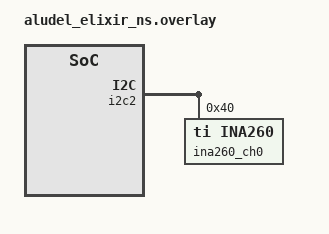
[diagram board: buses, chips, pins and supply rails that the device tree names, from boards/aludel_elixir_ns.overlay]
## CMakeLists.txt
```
# SPDX-License-Identifier: Apache-2.0

cmake_minimum_required(VERSION 3.20.0)
find_package(Zephyr REQUIRED HINTS $ENV{ZEPHYR_BASE})
project(gateway)

target_include_directories(app PRIVATE include ${CMAKE_CURRENT_BINARY_DIR})

target_sources(app PRIVATE
  src/block.c
  src/bt/connect.c
  src/bt/cert.c
  src/bt/downlink.c
  src/bt/scan.c
  src/bt/uplink.c
  src/cert.c
  src/downlink.c
  src/fatal_error.c
  src/uplink.c
  src/main.c
  git_describe.h
)

file(WRITE ${CMAKE_CURRENT_BINARY_DIR}/mk-git-describe.sh
  "echo \"#define GIT_DESCRIBE \\\\\" > ${CMAKE_CURRENT_BINARY_DIR}/git_describe.h\n"
  "git describe --always --dirty >> ${CMAKE_CURRENT_BINARY_DIR}/git_describe.h || true\n")

add_custom_command(OUTPUT git_describe.h always_run
  COMMAND chmod +x ${CMAKE_CURRENT_BINARY_DIR}/mk-git-describe.sh
  COMMAND ${CMAKE_CURRENT_BINARY_DIR}/mk-git-describe.sh
  WORKING_DIRECTORY ${CMAKE_CURRENT_LIST_DIR})

generate_inc_file_for_target(app
  src/server.der
  ${ZEPHYR_BINARY_DIR}/include/generated/server.der.inc)
```

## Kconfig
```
# Copyright (c) 2025 Golioth, Inc.
# SPDX-License-Identifier: Apache-2.0

configdefault MBEDTLS_USE_PSA_CRYPTO
	default n

configdefault BT_CTLR_DATA_LENGTH_MAX
	default 251

source "${ZEPHYR_GOLIOTH_FIRMWARE_SDK_MODULE_DIR}/examples/zephyr/common/Kconfig.defconfig"

source "Kconfig.zephyr"
```

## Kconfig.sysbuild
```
# Copyright (c) 2025 Golioth, Inc.
# SPDX-License-Identifier: Apache-2.0

menu "Gateway configuration"

config GATEWAY_CLOUD
	bool "Send pouches to cloud"
	default y
	help
	  Disabling cloud communication allows to test Bluetooth gateway
	  functionality without relying on communication with backend. All
	  pouches received from Bluetooth nodes are dropped in that case.

endmenu

menu "BabbleSim components"
	depends on SOC = "native"

config BSIM_HANDBRAKE
	bool "Handbrake"
	default y if GATEWAY_CLOUD

endmenu

menu "BabbleSim peripherals"
	depends on SOC = "native"

config PERIPHERAL_ZEPHYR
	bool "Zephyr"
	help
	  Zephyr peripheral sample.

config PERIPHERAL_ZEPHYR_NUM
	int "Number of Zephyr peripherals"
	default 1
	depends on PERIPHERAL_ZEPHYR

config PERIPHERAL_PERIODIC_UPLINK
	bool "Periodic uplink"
	help
	  Periodic uplink sample.

config PERIPHERAL_PERIODIC_UPLINK_NUM
	int "Number of periodic uplink peripherals"
	default 1
	depends on PERIPHERAL_PERIODIC_UPLINK

config PERIPHERAL_BLE_GATT_EXAMPLE
	bool "BLE GATT example"
	default y
	help
	  BLE GATT sample.

config PERIPHERAL_BLE_GATT_EXAMPLE_NUM
	int "Number of BLE GATT example peripherals"
	default 1
	depends on PERIPHERAL_BLE_GATT_EXAMPLE

endmenu

config PERIPHERAL_MOUNT_CREDS
	bool "Mount credentials under /creds directory"
	help
	  Mount credentials located ${BUILD_DIR}/creds under /creds mountpoint in Zephyr.

choice BOOTLOADER
	default BOOTLOADER_MCUBOOT if SOC != "native"
endchoice

source "share/sysbuild/Kconfig"
```

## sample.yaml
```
sample:
  name: Pouch Gateway
tests:
  pouch-gateway.gateway:
    tags: bluetooth
    harness: pytest
    harness_config:
      pytest_dut_scope: module
    sysbuild: true
    platform_allow:
      - nrf52_bsim
    integration_platforms:
      - nrf52_bsim
    extra_args:
      - SB_CONFIG_PERIPHERAL_MOUNT_CREDS=y
      - peripheral_ble_gatt_example_0_CONFIG_PICOLIBC=y
      - peripheral_ble_gatt_example_0_CONFIG_FILE_SYSTEM_NSIM_MOUNT=y
      - peripheral_ble_gatt_example_0_CONFIG_EXAMPLE_SYNC_PERIOD_S=2
    timeout: 120
```

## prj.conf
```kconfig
CONFIG_POUCH_GATEWAY=y

CONFIG_BT=y
CONFIG_BT_CENTRAL=y
CONFIG_BT_MAX_CONN=16
CONFIG_BT_GATT_CLIENT=y
CONFIG_BT_GATT_CACHING=n
CONFIG_BT_GATT_AUTO_UPDATE_MTU=y
CONFIG_BT_L2CAP_TX_MTU=247
CONFIG_BT_BUF_ACL_TX_SIZE=251
CONFIG_BT_BUF_ACL_RX_SIZE=251

CONFIG_COAP_INIT_ACK_TIMEOUT_MS=3000

CONFIG_LOG=y

# Settings subsystem
CONFIG_FCB=y
CONFIG_FLASH=y
CONFIG_FLASH_MAP=y

CONFIG_SETTINGS=y
CONFIG_SETTINGS_FCB=y

# Application
CONFIG_GOLIOTH_SAMPLE_COMMON=y
CONFIG_GOLIOTH_SAMPLE_SETTINGS_SHELL=y

# Golioth Firmware SDK with all dependencies
CONFIG_GOLIOTH_FIRMWARE_SDK=y
CONFIG_GOLIOTH_GATEWAY=y

# Golioth logging backend
CONFIG_LOG_MODE_DEFERRED=y
CONFIG_LOG_BACKEND_GOLIOTH=y

# Application
CONFIG_MAIN_STACK_SIZE=2048
CONFIG_SYSTEM_WORKQUEUE_STACK_SIZE=2048

# Pouch BLE GATT Transport
CONFIG_POUCH_TRANSPORT_BLE_GATT_COMMON=y

CONFIG_ZVFS_EVENTFD_MAX=11
```

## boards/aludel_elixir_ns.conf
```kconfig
CONFIG_BT_HCI_ACL_FLOW_CONTROL=n
```

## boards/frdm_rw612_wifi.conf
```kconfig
# Extra configuration file for using NXP frdm_rw612 with WiFi instead of Ethernet
#   To use, add as extra conf file:
#   west build -p -b frdm_rw612 <path_to>/gateway -- -DEXTRA_CONF_FILE=<path_to>/gateway/boards/frdm_rw612_wifi.conf

CONFIG_GOLIOTH_SAMPLE_WIFI=y
CONFIG_WIFI=y
CONFIG_WIFI_NXP=y

CONFIG_NET_L2_ETHERNET=y
CONFIG_NET_IPV4=y
CONFIG_NET_IF_MAX_IPV4_COUNT=3
CONFIG_NET_PKT_RX_COUNT=36
CONFIG_NET_PKT_TX_COUNT=36
CONFIG_NET_BUF_RX_COUNT=40
CONFIG_NET_BUF_TX_COUNT=40
CONFIG_NET_BUF_DATA_SIZE=1744
```

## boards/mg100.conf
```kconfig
# Generic networking options
CONFIG_NETWORKING=y
CONFIG_NET_UDP=y
CONFIG_NET_TCP=y
CONFIG_NET_IPV6=n
CONFIG_NET_IPV4=y
CONFIG_NET_SOCKETS=y

CONFIG_MODEM=y
CONFIG_MODEM_HL7800=y
CONFIG_MODEM_HL7800_SET_APN_NAME_ON_STARTUP=y
CONFIG_MODEM_HL7800_APN_NAME="internet.ht.hr"
CONFIG_MODEM_HL7800_RAT_NB1=y

# DNS
CONFIG_DNS_RESOLVER=y
CONFIG_DNS_SERVER1="1.1.1.1"
CONFIG_DNS_RESOLVER_LOG_LEVEL_DBG=y

CONFIG_NET_SOCKETS_DTLS_MAX_FRAGMENT_LENGTH=2048

# Network buffers
CONFIG_NET_PKT_RX_COUNT=32
CONFIG_NET_PKT_TX_COUNT=16
CONFIG_NET_BUF_RX_COUNT=64
CONFIG_NET_BUF_TX_COUNT=32

# TLS
CONFIG_MBEDTLS_HEAP_SIZE=65536
CONFIG_MBEDTLS_SSL_MAX_CONTENT_LEN=2048

CONFIG_NET_CONFIG_SETTINGS=n
CONFIG_NET_DHCPV4=n
CONFIG_DNS_SERVER_IP_ADDRESSES=n

CONFIG_NET_SOCKETS_DNS_TIMEOUT=12000
CONFIG_NET_SOCKETS_CONNECT_TIMEOUT=15000

CONFIG_NET_MGMT=y
CONFIG_NET_MGMT_EVENT=y
CONFIG_NET_CONNECTION_MANAGER=y

CONFIG_HEAP_MEM_POOL_SIZE=4096

CONFIG_GOLIOTH_DEBUG_LOG=y
CONFIG_GOLIOTH_DEBUG_DEFAULT_LOG_LEVEL=4
```

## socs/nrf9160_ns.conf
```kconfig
# Copyright (c) 2025 Golioth, Inc.
# SPDX-License-Identifier: Apache-2.0

# General config
CONFIG_HEAP_MEM_POOL_SIZE=65536
CONFIG_NEWLIB_LIBC=y

# Networking
CONFIG_NET_SOCKETS_OFFLOAD=y
CONFIG_NET_IPV6=y
CONFIG_NET_IPV6_NBR_CACHE=n
CONFIG_NET_IPV6_MLD=n

# Increase native TLS socket implementation, so that it is chosen instead of
# offloaded nRF91 sockets
CONFIG_NET_SOCKETS_TLS_PRIORITY=35

# Modem library
CONFIG_NRF_MODEM_LIB=y

# LTE connectivity with network connection manager
CONFIG_NRF_MODEM_LIB_NET_IF=y
CONFIG_NRF_MODEM_LIB_NET_IF_AUTO_START=y
CONFIG_NRF_MODEM_LIB_NET_IF_AUTO_CONNECT=n
CONFIG_NET_CONNECTION_MANAGER=y
CONFIG_NET_CONNECTION_MANAGER_MONITOR_STACK_SIZE=1024

# Add Logs for LTE Link Handler
CONFIG_GOLIOTH_SAMPLE_NRF91_LTE_MONITOR=y

# Disable options y-selected by NCS for no good reason
CONFIG_MBEDTLS_KEY_EXCHANGE_DHE_PSK_ENABLED=n
CONFIG_MBEDTLS_KEY_EXCHANGE_DHE_RSA_ENABLED=n

# MbedTLS configuration to support p-384 curve. These options
# enable using the MbedTLS built-in support for operations not
# supported by the default nRF Oberon crypto backend
CONFIG_NORDIC_SECURITY_BACKEND=n
CONFIG_MBEDTLS_LEGACY_CRYPTO_C=y

# Add Network Info Support
CONFIG_MODEM_INFO=y

# Generate MCUboot compatible images
CONFIG_BOOTLOADER_MCUBOOT=y
```

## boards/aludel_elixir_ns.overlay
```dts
#include <aludel_elixir_ble_hci.dtsi>

&i2c2 {
	/* Needed for I2C writes used by libostentus */
	zephyr,concat-buf-size = <48>;

	ina260_ch0: ina260@40 {
        status = "okay";
		compatible = "ti,ina260";
		reg = <0x40>;
	};

};
```

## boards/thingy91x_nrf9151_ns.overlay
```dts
/*
 * Copyright (c) 2025 Golioth, Inc.
 *
 * SPDX-License-Identifier: Apache-2.0
 */

/ {
	chosen {
		zephyr,bt-hci = &bt_hci_uart;
	};
};

&uart0_default {
	group1 {
		psels = <NRF_PSEL(UART_TX, 0, 1)>,
			<NRF_PSEL(UART_RX, 0, 0)>,
			<NRF_PSEL(UART_CTS, 0, 5)>,
			<NRF_PSEL(UART_RTS, 0, 4)>;
	};
};

&uart0_sleep {
	group1 {
		psels = <NRF_PSEL(UART_TX, 0, 1)>,
			<NRF_PSEL(UART_RX, 0, 0)>,
			<NRF_PSEL(UART_CTS, 0, 5)>,
			<NRF_PSEL(UART_RTS, 0, 4)>;
		low-power-enable;
	};
};

&uart0 {
	compatible = "nordic,nrf-uarte";
	status = "okay";
	current-speed = <1000000>;
	hw-flow-control;

	bt_hci_uart: bt_hci_uart {
		compatible = "zephyr,bt-hci-uart";
		status = "okay";
	};
};
```

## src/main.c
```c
/*
 * Copyright (c) 2025 Golioth, Inc.
 *
 * SPDX-License-Identifier: Apache-2.0
 */

#include <zephyr/bluetooth/bluetooth.h>
#include <zephyr/bluetooth/conn.h>
#include <zephyr/bluetooth/hci.h>
#include <zephyr/net/net_if.h>
#include <zephyr/net/dhcpv4.h>

#include <golioth/client.h>
#include <golioth/gateway.h>
#include <samples/common/sample_credentials.h>

#include <pouch/transport/gatt/common/types.h>

#include <pouch_gateway/bt/connect.h>
#include <pouch_gateway/bt/scan.h>
#include <pouch_gateway/cert.h>
#include <pouch_gateway/downlink.h>
#include <pouch_gateway/uplink.h>

#include <git_describe.h>

#include <zephyr/logging/log.h>
LOG_MODULE_REGISTER(main);

struct golioth_client *client;

#ifdef CONFIG_POUCH_GATEWAY_CLOUD

static K_SEM_DEFINE(connected, 0, 1);

static void on_client_event(struct golioth_client *client,
                            enum golioth_client_event event,
                            void *arg)
{
    bool is_connected = (event == GOLIOTH_CLIENT_EVENT_CONNECTED);
    if (is_connected)
    {
        k_sem_give(&connected);
    }
    LOG_INF("Golioth client %s", is_connected ? "connected" : "disconnected");
}

static void connect_golioth_client(void)
{
    const struct golioth_client_config *client_config = golioth_sample_credentials_get();
    if (client_config == NULL || client_config->credentials.psk.psk_id_len == 0
        || client_config->credentials.psk.psk_len == 0)
    {
        LOG_ERR("No credentials found.");
        LOG_ERR(
            "Please store your credentials with the following commands, then reboot the device.");
        LOG_ERR("\tsettings set golioth/psk-id <your-psk-id>");
        LOG_ERR("\tsettings set golioth/psk <your-psk>");
        return;
    }

    client = golioth_client_create(client_config);

    golioth_client_register_event_callback(client, on_client_event, NULL);
}

#ifdef CONFIG_NRF_MODEM
#include <modem/lte_lc.h>
static void lte_handler(const struct lte_lc_evt *const evt)
{
    if (evt->type == LTE_LC_EVT_NW_REG_STATUS)
    {

        if ((evt->nw_reg_status == LTE_LC_NW_REG_REGISTERED_HOME)
            || (evt->nw_reg_status == LTE_LC_NW_REG_REGISTERED_ROAMING))
        {

            if (!client)
            {
                connect_golioth_client();
            }
        }
    }
}
#endif /* CONFIG_NRF_MODEM */

#ifdef CONFIG_MODEM_HL7800
#define NET_MGMT_MASK (NET_EVENT_DNS_SERVER_ADD | NET_EVENT_L4_DISCONNECTED)
#include <zephyr/net/conn_mgr_monitor.h>
#include <zephyr/net/conn_mgr_connectivity.h>
#include <zephyr/net/net_mgmt.h>

static K_SEM_DEFINE(network_connected, 0, 1);

static struct net_mgmt_event_callback cb;

static void net_mgmt_cb(struct net_mgmt_event_callback *cb, uint64_t event, struct net_if *iface)
{
    switch (event)
    {
        case NET_EVENT_DNS_SERVER_ADD:
            LOG_INF("Network connectivity established and IP address assigned");
            k_sem_give(&network_connected);
            break;
        case NET_EVENT_L4_DISCONNECTED:
            break;
        default:
            break;
    }
}

void wait_for_network(void)
{
    net_mgmt_init_event_callback(&cb, net_mgmt_cb, NET_MGMT_MASK);
    net_mgmt_add_event_callback(&cb);
    conn_mgr_mon_resend_status();

    LOG_INF("Waiting for network connection...");
    k_sem_take(&network_connected, K_FOREVER);
}
#endif /* CONFIG_MODEM_HL7800 */

static void connect_to_cloud(void)
{
#if defined(CONFIG_NRF_MODEM)
    LOG_INF("Connecting to LTE, this may take some time...");
    lte_lc_connect_async(lte_handler);
#else
#if defined(CONFIG_NET_L2_ETHERNET) && defined(CONFIG_NET_DHCPV4)
    net_dhcpv4_start(net_if_get_default());
#elif defined(CONFIG_MODEM_HL7800)
    wait_for_network();
#endif
    connect_golioth_client();
#endif
    k_sem_take(&connected, K_FOREVER);
}

#else /* CONFIG_POUCH_GATEWAY_CLOUD */

static inline void connect_to_cloud(void) {}

#endif /* CONFIG_POUCH_GATEWAY_CLOUD */

static void bt_connected(struct bt_conn *conn, uint8_t err)
{
    char addr[BT_ADDR_LE_STR_LEN];

    bt_addr_le_to_str(bt_conn_get_dst(conn), addr, sizeof(addr));

    if (err)
    {
        LOG_ERR("Failed to connect to %s %u %s", addr, err, bt_hci_err_to_str(err));

        bt_conn_unref(conn);

        pouch_gateway_scan_start();
        return;
    }

    LOG_INF("Connected: %s", addr);

    pouch_gateway_bt_start(conn);
}

static void bt_disconnected(struct bt_conn *conn, uint8_t reason)
{
    char addr[BT_ADDR_LE_STR_LEN];

    bt_addr_le_to_str(bt_conn_get_dst(conn), addr, sizeof(addr));
    LOG_INF("Disconnected: %s, reason 0x%02x %s", addr, reason, bt_hci_err_to_str(reason));

    pouch_gateway_bt_stop(conn);

    bt_conn_unref(conn);

    pouch_gateway_scan_start();
}

BT_CONN_CB_DEFINE(conn_callbacks) = {
    .connected = bt_connected,
    .disconnected = bt_disconnected,
};

void pouch_gateway_bt_finished(struct bt_conn *conn)
{
    bt_conn_disconnect(conn, BT_HCI_ERR_REMOTE_USER_TERM_CONN);
}

int main(void)
{
    LOG_INF("Gateway Version: " STRINGIFY(GIT_DESCRIBE));
    LOG_INF("Pouch BLE Transport Protocol Version: %d", POUCH_GATT_VERSION);

    connect_to_cloud();

    pouch_gateway_cert_module_on_connected(client);
    pouch_gateway_uplink_module_init(client);
    pouch_gateway_downlink_module_init(client);

    int err = bt_enable(NULL);
    if (err)
    {
        LOG_ERR("Bluetooth init failed (err %d)", err);
        return err;
    }

    LOG_INF("Bluetooth initialized");

    pouch_gateway_scan_start();

#ifdef CONFIG_POUCH_GATEWAY_CLOUD
    while (true)
    {
        k_sem_take(&connected, K_FOREVER);
        pouch_gateway_cert_module_on_connected(client);
    }
#endif

    return 0;
}
```

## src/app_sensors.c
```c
/*
 * Copyright (c) 2022-2023 Golioth, Inc.
 *
 * SPDX-License-Identifier: Apache-2.0
 */

#include <zephyr/logging/log.h>
LOG_MODULE_REGISTER(app_sensors, LOG_LEVEL_DBG);

#include <stdlib.h>
#include <golioth/client.h>
#include <golioth/stream.h>
#include <zcbor_encode.h>
#include <zephyr/kernel.h>
#include <zcbor_decode.h>
#include <zephyr/device.h>
#include <zephyr/drivers/i2c.h>
#include <zephyr/drivers/gpio.h>
#include <zephyr/drivers/sensor.h>
#include <zephyr/drivers/spi.h>

#include <zephyr/drivers/sensor/ina260.h>

#include "app_sensors.h"



/* Convert DC reading to actual value */
int64_t calculate_reading(uint8_t upper, uint8_t lower)
{
	int16_t raw = (upper<<8) | lower;
	uint64_t big = raw * 125;
	return big;
}

#define SPI_OP	SPI_OP_MODE_MASTER | SPI_MODE_CPOL | SPI_MODE_CPHA | SPI_WORD_SET(8) | SPI_LINES_SINGLE

struct k_sem adc_data_sem;

/* Formatting string for sending sensor JSON to Golioth */
#define JSON_FMT "{\"cur\":{\"ch0\":%d,\"ch1\":%d},\"vol\":{\"ch0\":%d,\"ch1\":%d},\"pow\":{\"ch0\":%d,\"ch1\":%d}}"
#define JSON_FMT_SINGLE "{\"cur\":{\"%s\":%d},\"vol\":{\"%s\":%d},\"pow\":{\"%s\":%d}}"
#define CH0_PATH "ch0"
#define ADC_STREAM_ENDP	"sensor"
#define ADC_CUMULATIVE_ENDP	"state/cumulative"

#define ADC_CH0 0

adc_node_t adc_ch0 = {
	.dev = DEVICE_DT_GET(DT_NODELABEL(ina260_ch0)),
	.ch_num = ADC_CH0,
	.laston = -1,
	.runtime = 0,
	.total_unreported = 0,
	.total_cloud = 0,
	.loaded_from_cloud = false,
	.device_ready = false
};

static struct golioth_client *client;
static struct k_work_delayable _sensor_report_work;

#define LOOP_DELAY_S 60

static void async_error_handler(struct golioth_client *client,
                                enum golioth_status status,
                                const struct golioth_coap_rsp_code *coap_rsp_code,
                                const char *path,
                                void *arg)
{
    if (status != GOLIOTH_OK)
    {
        LOG_ERR("Async task failed: %d", status);
        return;
    }
}

static int get_adc_reading(adc_node_t *adc)
{
	int err;

	err = sensor_sample_fetch(adc->dev);
	if (err) {
		LOG_ERR("Error fetching sensor values from %s: %d", adc->dev->name, err);
		adc->device_ready = false;
		return err;
	}

	adc->device_ready = true;
	return 0;
}

static int log_sensor_values(adc_node_t *sensor, bool get_new_reading)
{
	int err;

	if (get_new_reading) {
		err = get_adc_reading(sensor);
		if (err) {
			return err;
		}
	}

	if (sensor->device_ready) {
		struct sensor_value cur, pow, vol;

		sensor_channel_get(sensor->dev,
				   (enum sensor_channel)SENSOR_CHAN_VOLTAGE,
				   &vol);
		sensor_channel_get(sensor->dev,
				   (enum sensor_channel)SENSOR_CHAN_CURRENT,
					   &cur);
		sensor_channel_get(sensor->dev,
				   (enum sensor_channel)SENSOR_CHAN_POWER,
				   &pow);

		LOG_INF("Device: %s, %f V, %f A, %f W",
			sensor->dev->name,
			sensor_value_to_double(&vol),
			sensor_value_to_double(&cur),
			sensor_value_to_double(&pow)
			);

		IF_ENABLED(CONFIG_LIB_OSTENTUS, (
			char ostentus_buf[32];
			uint8_t slide_num;

			snprintk(ostentus_buf, sizeof(ostentus_buf), "%.02f V",
				 sensor_value_to_double(&vol));
			slide_num = (sensor->ch_num == 0) ? CH0_VOLTAGE : CH1_VOLTAGE;
			ostentus_slide_set(o_dev, slide_num, ostentus_buf, strlen(ostentus_buf));

			snprintk(ostentus_buf, sizeof(ostentus_buf), "%.02f mA",
				 sensor_value_to_double(&cur) * 1000);
			slide_num = (sensor->ch_num == 0) ? CH0_CURRENT : CH1_CURRENT;
			ostentus_slide_set(o_dev, slide_num, ostentus_buf, strlen(ostentus_buf));

			snprintk(ostentus_buf, sizeof(ostentus_buf), "%.02f W",
				 sensor_value_to_double(&pow));
			slide_num = (sensor->ch_num == 0) ? CH0_POWER : CH1_POWER;
			ostentus_slide_set(o_dev, slide_num, ostentus_buf, strlen(ostentus_buf));
		));
	} else {
		return -ENODATA;
	}

	return 0;
}

static int get_raw_sensor_values(adc_node_t *sensor, vcp_raw_t *values, bool get_new_reading)
{
	int err;

	if (get_new_reading) {
		err = get_adc_reading(sensor);
		if (err) {
			return err;
		}
	}

	if (sensor->device_ready) {
		struct sensor_value raw;

		sensor_channel_get(sensor->dev,
				   (enum sensor_channel)SENSOR_CHAN_INA260_VOLTAGE_RAW,
				   &raw);
		values->voltage = raw.val1;

		sensor_channel_get(sensor->dev,
				   (enum sensor_channel)SENSOR_CHAN_INA260_CURRENT_RAW,
				   &raw);
		values->current = raw.val1;

		sensor_channel_get(sensor->dev,
				   (enum sensor_channel)SENSOR_CHAN_INA260_POWER_RAW,
				   &raw);
		values->power = raw.val1;

	} else {
		return -ENODATA;
	}

	return 0;
}

static int push_single_adc_to_golioth(vcp_raw_t *single_ch_data, char *single_ch_path)
{
	int err;
	char json_buf[128];

	snprintk(json_buf,
		 sizeof(json_buf),
		 JSON_FMT_SINGLE,
		 single_ch_path,
		 single_ch_data->current,
		 single_ch_path,
		 single_ch_data->voltage,
		 single_ch_path,
		 single_ch_data->power
		 );

	err = golioth_stream_set_async(client,
				       ADC_STREAM_ENDP,
				       GOLIOTH_CONTENT_TYPE_JSON,
				       json_buf,
				       strlen(json_buf),
				       async_error_handler,
				       NULL);
	if (err) {
		LOG_ERR("Failed to send sensor data to Golioth: %d", err);
		return err;
	}

	return 0;
}

static void sensor_report_work_handler(struct k_work *work)
{
    app_sensors_read_and_stream();
    k_work_schedule(&_sensor_report_work, K_SECONDS(LOOP_DELAY_S));
}

void app_sensors_read_and_stream(void)
{
    int err;
    static uint16_t counter;
    vcp_raw_t ch0_raw;
    int ch0_invalid;


    if (golioth_client_is_connected(client))
    {
        uint8_t cbor_buf[13];
        ZCBOR_STATE_E(zse, 1, cbor_buf, sizeof(cbor_buf), 1);

        bool ok = zcbor_map_start_encode(zse, 1) &&
                  zcbor_tstr_put_lit(zse, "counter") &&
                  zcbor_uint32_put(zse, counter) &&
                  zcbor_map_end_encode(zse, 1);

        if (!ok)
        {
            LOG_ERR("Failed to encode CBOR.");
            return;
        }

        size_t cbor_size = zse->payload - cbor_buf;

        LOG_DBG("Streaming counter: %d", counter);

        err = golioth_stream_set_async(client,
                                       "sensor",
                                       GOLIOTH_CONTENT_TYPE_CBOR,
                                       cbor_buf,
                                       cbor_size,
                                       async_error_handler,
                                       NULL);
        if (err)
        {
            LOG_ERR("Failed to send sensor data to Golioth: %d", err);
        }
    }
    else
    {
        LOG_DBG("No connection available, skipping streaming counter: %d", counter);
    }


    get_adc_reading(&adc_ch0);
    ch0_invalid = get_raw_sensor_values(&adc_ch0, &ch0_raw, false);
    // log_sensor_values(&adc_ch0, false);
    if (ch0_invalid) {
		LOG_WRN("Solar power data not available");
		return;
	}
    else{
        push_single_adc_to_golioth(&ch0_raw, CH0_PATH);
    }

    ++counter;
}

void app_sensors_set_client(struct golioth_client *sensors_client)
{
    client = sensors_client;
    k_work_init_delayable(&_sensor_report_work, sensor_report_work_handler);
    k_work_schedule(&_sensor_report_work, K_SECONDS(LOOP_DELAY_S));
}
```

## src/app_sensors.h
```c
/*
 * Copyright (c) 2022-2023 Golioth, Inc.
 *
 * SPDX-License-Identifier: Apache-2.0
 */

#ifndef __APP_SENSORS_H__
#define __APP_SENSORS_H__

#include <stdint.h>
#include <zephyr/drivers/spi.h>
#include <golioth/client.h>


typedef struct {
	const struct  device *const dev;
	uint8_t ch_num;
	int64_t laston;
	uint64_t runtime;
	uint64_t total_unreported;
	uint64_t total_cloud;
	bool loaded_from_cloud;
	bool device_ready;
} adc_node_t;

typedef struct {
	int16_t current;
	int16_t voltage;
	uint16_t power;
} vcp_raw_t;

void app_sensors_set_client(struct golioth_client *sensors_client);
void app_sensors_read_and_stream(void);

#endif /* __APP_SENSORS_H__ */
```

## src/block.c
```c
/*
 * Copyright (c) 2025 Golioth, Inc.
 *
 * SPDX-License-Identifier: Apache-2.0
 */

#include <stdint.h>
#include <stdlib.h>
#include <string.h>

#include <errno.h>

#include <zephyr/kernel.h>
#include <zephyr/sys/sflist.h>

#include "block.h"

enum block_flags
{
    BLOCK_LAST = 0,
};

struct block
{
    sys_sfnode_t node;
    void *user_data;
    struct
    {
        uint8_t is_last : 1;
    } flags;
    size_t len;
    uint8_t data[CONFIG_GOLIOTH_BLOCKWISE_UPLOAD_MAX_BLOCK_SIZE];
};

K_MEM_SLAB_DEFINE_STATIC(block_slab, sizeof(struct block), CONFIG_GATEWAY_NUM_BLOCKS, 4);

struct block *block_alloc(void *user_data, k_timeout_t timeout)
{
    struct block *block = NULL;
    int err = k_mem_slab_alloc(&block_slab, (void **) &block, timeout);
    if (0 == err)
    {
        block->flags.is_last = 0;
        block->len = 0;
        block->user_data = user_data;
    }

    return block;
}

void block_free(struct block *block)
{
    k_mem_slab_free(&block_slab, block);
}

size_t block_length(const struct block *block)
{
    return block->len;
}

void block_mark_last(struct block *block)
{
    block->flags.is_last = true;
}

bool block_is_last(const struct block *block)
{
    return 1 == block->flags.is_last;
}

void block_append(struct block *block, const void *data, size_t data_len)
{
    memcpy(block->data + block->len, data, data_len);
    block->len += data_len;
}

int block_get(const struct block *block, size_t offset, void *buf, size_t len)
{
    if (offset + len > CONFIG_GOLIOTH_BLOCKWISE_UPLOAD_MAX_BLOCK_SIZE)
    {
        return -EINVAL;
    }

    memcpy(buf, block->data + offset, len);

    return 0;
}
```

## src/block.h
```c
/*
 * Copyright (c) 2025 Golioth, Inc.
 *
 * SPDX-License-Identifier: Apache-2.0
 */

#include <stdbool.h>

#include <zephyr/kernel.h>

struct block;

struct block *block_alloc(void *user_data, k_timeout_t timeout);
void block_free(struct block *block);
size_t block_length(const struct block *block);
void block_mark_last(struct block *block);
bool block_is_last(const struct block *block);
void block_append(struct block *block, const void *data, size_t data_len);
int block_get(const struct block *block, size_t offset, void *buf, size_t len);
```

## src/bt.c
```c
/*
 * Copyright (c) 2025 Golioth, Inc.
 *
 * SPDX-License-Identifier: Apache-2.0
 */

#include <stdlib.h>

#include <zephyr/bluetooth/bluetooth.h>
#include <zephyr/bluetooth/hci.h>
#include <zephyr/bluetooth/conn.h>
#include <zephyr/bluetooth/uuid.h>
#include <zephyr/bluetooth/gatt.h>
#include <zephyr/sys/byteorder.h>

#include <pouch/transport/ble_gatt/common/uuids.h>
#include <pouch/transport/ble_gatt/common/packetizer.h>

#include "bt.h"
#include "downlink.h"
#include "uplink.h"

#include <zephyr/logging/log.h>
LOG_MODULE_REGISTER(bt);

#define BT_ATT_OVERHEAD 3 /* opcode (1) + handle (2) */

static struct bt_conn *default_conn;

static const struct bt_uuid_128 golioth_svc_uuid = BT_UUID_INIT_128(GOLIOTH_BLE_GATT_UUID_SVC_VAL);
static const struct bt_uuid_128 golioth_info_chrc_uuid =
    BT_UUID_INIT_128(GOLIOTH_BLE_GATT_UUID_INFO_CHRC_VAL);
static const struct bt_uuid_128 golioth_downlink_chrc_uuid =
    BT_UUID_INIT_128(GOLIOTH_BLE_GATT_UUID_DOWNLINK_CHRC_VAL);
static const struct bt_uuid_128 golioth_uplink_chrc_uuid =
    BT_UUID_INIT_128(GOLIOTH_BLE_GATT_UUID_UPLINK_CHRC_VAL);

struct tf_svc_adv_data
{
    uint8_t sync_request;
} __packed;

struct tf_data
{
    bool is_tf;
    struct tf_svc_adv_data adv_data;
};

struct golioth_node_info
{
    struct
    {
        uint16_t info;
        uint16_t downlink;
        uint16_t uplink;
    } attr_handles;
    union
    {
        struct bt_gatt_discover_params discover_params;
        struct bt_gatt_read_params read_params;
        struct bt_gatt_write_params write_params;
    };
    struct pouch_uplink *uplink;
    struct downlink_context *downlink_ctx;
    void *downlink_scratch;
    struct golioth_ble_gatt_packetizer *packetizer;
};

static struct golioth_node_info connected_nodes[CONFIG_BT_MAX_CONN];

static bool data_cb(struct bt_data *data, void *user_data)
{
    struct tf_data *tf = user_data;

    switch (data->type)
    {
        case BT_DATA_SVC_DATA128:
        {
            struct tf_svc_adv_data *adv_data;

            if (data->data_len >= sizeof(golioth_svc_uuid.val) + sizeof(*adv_data)
                && memcmp(golioth_svc_uuid.val, data->data, sizeof(golioth_svc_uuid.val)) == 0)
            {
                adv_data = (void *) &data->data[sizeof(golioth_svc_uuid.val)];

                tf->is_tf = true;
                tf->adv_data = *adv_data;
            }
            else
            {
                return false;
            }
            return true;
        }
        default:
            return true;
    }
}

static void device_found(const bt_addr_le_t *addr,
                         int8_t rssi,
                         uint8_t type,
                         struct net_buf_simple *ad)
{
    char addr_str[BT_ADDR_LE_STR_LEN];
    struct tf_data tf = {
        .is_tf = false,
    };
    int err;

    /* We're only interested in connectable events */
    if (type != BT_GAP_ADV_TYPE_ADV_IND && type != BT_GAP_ADV_TYPE_ADV_DIRECT_IND)
    {
        return;
    }

    bt_addr_le_to_str(addr, addr_str, sizeof(addr_str));
    LOG_DBG("Device found: %s (RSSI %d)", addr_str, rssi);

    bt_data_parse(ad, data_cb, &tf);
    LOG_DBG("is_tf=%d sync_request=%d", (int) tf.is_tf, (int) tf.adv_data.sync_request);

    if (tf.is_tf && tf.adv_data.sync_request)
    {
        err = bt_le_scan_stop();
        if (err)
        {
            LOG_ERR("Failed to stop scanning");
            return;
        }

        err = bt_conn_le_create(addr,
                                BT_CONN_LE_CREATE_CONN,
                                BT_LE_CONN_PARAM_DEFAULT,
                                &default_conn);
        if (err)
        {
            LOG_ERR("Create auto conn to failed (%d)", err);
            return;
        }
    }
}

static void start_scan(void)
{
    int err;

    /* This demo doesn't require active scan */
    err = bt_le_scan_start(BT_LE_SCAN_PARAM(BT_LE_SCAN_TYPE_PASSIVE,
                                            BT_LE_SCAN_OPT_NONE,
                                            BT_GAP_SCAN_FAST_INTERVAL_MIN,
                                            BT_GAP_SCAN_FAST_WINDOW),
                           device_found);
    if (err)
    {
        LOG_ERR("Scanning failed to start (err %d)", err);
        return;
    }

    LOG_INF("Scanning successfully started");
}

static void write_response_cb(struct bt_conn *conn,
                              uint8_t err,
                              struct bt_gatt_write_params *params);

static enum golioth_ble_gatt_packetizer_result downlink_packet_fill_cb(void *dst,
                                                                       size_t *dst_len,
                                                                       void *user_arg)
{
    bool last = false;

    int ret = downlink_get_data(user_arg, dst, dst_len, &last);
    if (-EAGAIN == ret)
    {
        LOG_DBG("Awaiting additional downlink data from cloud");
        return GOLIOTH_BLE_GATT_PACKETIZER_MORE_DATA;
    }
    if (0 > ret)
    {
        *dst_len = 0;
        return GOLIOTH_BLE_GATT_PACKETIZER_ERROR;
    }

    return last ? GOLIOTH_BLE_GATT_PACKETIZER_NO_MORE_DATA : GOLIOTH_BLE_GATT_PACKETIZER_MORE_DATA;
}

static int write_downlink_characteristic(struct bt_conn *conn)
{
    struct golioth_node_info *node = &connected_nodes[bt_conn_index(conn)];
    struct bt_gatt_write_params *params = &node->write_params;
    uint16_t downlink_handle = node->attr_handles.downlink;

    size_t len = bt_gatt_get_mtu(conn) - BT_ATT_OVERHEAD;
    enum golioth_ble_gatt_packetizer_result ret =
        golioth_ble_gatt_packetizer_get(node->packetizer, node->downlink_scratch, &len);

    if (GOLIOTH_BLE_GATT_PACKETIZER_ERROR == ret)
    {
        ret = golioth_ble_gatt_packetizer_error(node->packetizer);
        LOG_ERR("Error getting downlink data %d", ret);
        return ret;
    }

    params->func = write_response_cb;
    params->handle = downlink_handle;
    params->offset = 0;
    params->data = node->downlink_scratch;
    params->length = len;

    LOG_INF("Writing %d bytes to handle %d", params->length, params->handle);

    int res = bt_gatt_write(conn, params);
    if (0 > res)
    {
        bt_conn_disconnect(conn, BT_HCI_ERR_REMOTE_USER_TERM_CONN);
    }

    return 0;
}

static void write_response_cb(struct bt_conn *conn,
                              uint8_t err,
                              struct bt_gatt_write_params *params)
{
    LOG_INF("Received write response: %d", err);

    struct golioth_node_info *node = &connected_nodes[bt_conn_index(conn)];

    if (downlink_is_complete(node->downlink_ctx))
    {
        downlink_finish(node->downlink_ctx);
        golioth_ble_gatt_packetizer_finish(node->packetizer);

        bt_conn_disconnect(conn, BT_HCI_ERR_REMOTE_USER_TERM_CONN);
    }
    else
    {
        int ret = write_downlink_characteristic(conn);
        if (0 != ret)
        {
            downlink_abort(node->downlink_ctx);
            golioth_ble_gatt_packetizer_finish(node->packetizer);

            bt_conn_disconnect(conn, BT_HCI_ERR_REMOTE_USER_TERM_CONN);
        }
    }
}

static void downlink_data_available(void *arg)
{
    struct bt_conn *conn = arg;

    struct golioth_node_info *node = &connected_nodes[bt_conn_index(conn)];

    int ret = write_downlink_characteristic(conn);
    if (0 != ret)
    {
        downlink_abort(node->downlink_ctx);
        golioth_ble_gatt_packetizer_finish(node->packetizer);

        bt_conn_disconnect(conn, BT_HCI_ERR_REMOTE_USER_TERM_CONN);
    }
}

static void start_downlink(struct bt_conn *conn)
{
    struct golioth_node_info *node = &connected_nodes[bt_conn_index(conn)];

    if (0 == node->attr_handles.downlink)
    {
        LOG_ERR("Downlink characteristic undiscovered");
        bt_conn_disconnect(conn, BT_HCI_ERR_REMOTE_USER_TERM_CONN);
        return;
    }

    node->downlink_scratch = malloc(bt_gatt_get_mtu(conn) - BT_ATT_OVERHEAD);
    if (NULL == node->downlink_scratch)
    {
        LOG_ERR("Could not allocate space for downlink scratch buffer");
        bt_conn_disconnect(conn, BT_HCI_ERR_REMOTE_USER_TERM_CONN);
        return;
    }

    node->downlink_ctx = downlink_start(NULL, downlink_data_available, conn);
    node->packetizer =
        golioth_ble_gatt_packetizer_start_callback(downlink_packet_fill_cb, node->downlink_ctx);
}

/* Callback for handling BLE GATT Uplink Response */
static uint8_t tf_uplink_read_cb(struct bt_conn *conn,
                                 uint8_t read_err,
                                 struct bt_gatt_read_params *params,
                                 const void *data,
                                 uint16_t length)
{
    if (read_err)
    {
        LOG_ERR("Failed to read BLE GATT Uplink (err %d)", read_err);
        return BT_GATT_ITER_STOP;
    }

    struct golioth_node_info *node = &connected_nodes[bt_conn_index(conn)];

    bool is_first = false;
    bool is_last = false;
    const void *payload = NULL;
    ssize_t payload_len =
        golioth_ble_gatt_packetizer_decode(data, length, &payload, &is_first, &is_last);
    if (payload_len < 0)
    {
        LOG_ERR("Failed to decode BLE GATT Uplink (err %d)", (int) payload_len);
        bt_conn_disconnect(conn, BT_HCI_ERR_REMOTE_USER_TERM_CONN);
        return BT_GATT_ITER_STOP;
    }

    if (data)
    {
        LOG_HEXDUMP_INF(data, length, "[READ] BLE GATT Uplink");
    }

    int err = pouch_uplink_write(node->uplink, payload, payload_len, is_last);
    if (err)
    {
        LOG_ERR("Failed to write to pouch (err %d)", err);
        bt_conn_disconnect(conn, BT_HCI_ERR_REMOTE_USER_TERM_CONN);
        return BT_GATT_ITER_STOP;
    }

    if (is_last)
    {
        pouch_uplink_close(node->uplink);
        node->uplink = NULL;

        start_downlink(conn);

        return BT_GATT_ITER_STOP;
    }

    err = bt_gatt_read(conn, params);
    if (err)
    {
        LOG_ERR("BT (re)read request failed: %d", err);
        return BT_GATT_ITER_STOP;
    }

    return BT_GATT_ITER_STOP;
}

static uint8_t discover_func(struct bt_conn *conn,
                             const struct bt_gatt_attr *attr,
                             struct bt_gatt_discover_params *params)
{
    uint8_t conn_idx = bt_conn_index(conn);

    if (NULL == attr)
    {
        if (BT_GATT_DISCOVER_CHARACTERISTIC == params->type)
        {
            uint16_t uplink_handle = connected_nodes[conn_idx].attr_handles.uplink;
            if (0 != uplink_handle)
            {
                struct bt_gatt_read_params *read_params = &connected_nodes[conn_idx].read_params;
                memset(read_params, 0, sizeof(*read_params));

                read_params->func = tf_uplink_read_cb;
                read_params->handle_count = 1;
                read_params->single.handle = uplink_handle;
                int err = bt_gatt_read(conn, read_params);
                if (err)
                {
                    LOG_ERR("BT read request failed: %d", err);
                }
            }
            else
            {
                LOG_ERR("Could not discover Uplink characteristic");
            }
        }

        return BT_GATT_ITER_STOP;
    }

    if (BT_GATT_DISCOVER_PRIMARY == params->type)
    {
        struct bt_gatt_service_val *svc = attr->user_data;

        if (0 == bt_uuid_cmp(&golioth_svc_uuid.uuid, svc->uuid))
        {
            params->type = BT_GATT_DISCOVER_CHARACTERISTIC;
            params->start_handle = attr->handle + 1;
            params->end_handle = svc->end_handle;
            params->uuid = NULL;

            bt_gatt_discover(conn, params);

            return BT_GATT_ITER_STOP;
        }

        return BT_GATT_ITER_CONTINUE;
    }

    if (BT_GATT_DISCOVER_CHARACTERISTIC == params->type)
    {
        struct bt_gatt_chrc *chrc = attr->user_data;

        if (0 == bt_uuid_cmp(&golioth_info_chrc_uuid.uuid, chrc->uuid))
        {
            connected_nodes[conn_idx].attr_handles.info = chrc->value_handle;
        }
        else if (0 == bt_uuid_cmp(&golioth_downlink_chrc_uuid.uuid, chrc->uuid))
        {
            connected_nodes[conn_idx].attr_handles.downlink = chrc->value_handle;
        }
        else if (0 == bt_uuid_cmp(&golioth_uplink_chrc_uuid.uuid, chrc->uuid))
        {
            connected_nodes[conn_idx].attr_handles.uplink = chrc->value_handle;
        }
        else
        {
            LOG_WRN("Discovered Unknown characteristic: %d", chrc->value_handle);
        }

        return BT_GATT_ITER_CONTINUE;
    }

    return BT_GATT_ITER_STOP;
}

static void bt_connected(struct bt_conn *conn, uint8_t err)
{
    char addr[BT_ADDR_LE_STR_LEN];

    bt_addr_le_to_str(bt_conn_get_dst(conn), addr, sizeof(addr));

    if (err)
    {
        LOG_ERR("Failed to connect to %s %u %s", addr, err, bt_hci_err_to_str(err));

        start_scan();
        return;
    }

    LOG_INF("Connected: %s", addr);

    struct golioth_node_info *node = &connected_nodes[bt_conn_index(conn)];

    node->uplink = pouch_uplink_open();
    if (node->uplink == NULL)
    {
        LOG_ERR("Failed to open pouch uplink");
        bt_conn_disconnect(conn, BT_HCI_ERR_REMOTE_USER_TERM_CONN);
        return;
    }

    memset(&node->attr_handles, 0, sizeof(node->attr_handles));

    struct bt_gatt_discover_params *discover_params = &node->discover_params;

    discover_params->func = discover_func;
    discover_params->type = BT_GATT_DISCOVER_PRIMARY;
    discover_params->start_handle = BT_ATT_FIRST_ATTRIBUTE_HANDLE;
    discover_params->end_handle = BT_ATT_LAST_ATTRIBUTE_HANDLE;
    discover_params->uuid = &golioth_svc_uuid.uuid;

    err = bt_gatt_discover(conn, discover_params);
    if (err)
    {
        LOG_ERR("Failed to start discovery: %d", err);
    }
}

static void bt_disconnected(struct bt_conn *conn, uint8_t reason)
{
    char addr[BT_ADDR_LE_STR_LEN];

    bt_addr_le_to_str(bt_conn_get_dst(conn), addr, sizeof(addr));

    struct golioth_node_info *node = &connected_nodes[bt_conn_index(conn)];
    if (node->uplink)
    {
        pouch_uplink_close(node->uplink);
        node->uplink = NULL;
    }
    if (node->downlink_scratch)
    {
        free(node->downlink_scratch);
        node->downlink_scratch = NULL;
    }

    LOG_INF("Disconnected: %s, reason 0x%02x %s", addr, reason, bt_hci_err_to_str(reason));

    bt_conn_unref(default_conn);
    default_conn = NULL;

    start_scan();
}

BT_CONN_CB_DEFINE(conn_callbacks) = {
    .connected = bt_connected,
    .disconnected = bt_disconnected,
};

int bt_app_start(void)
{
    int err;

    err = bt_enable(NULL);
    if (err)
    {
        LOG_ERR("Bluetooth init failed (err %d)", err);
        return 0;
    }

    LOG_INF("Bluetooth initialized");

    start_scan();

    return 0;
}
```

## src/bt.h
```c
/*
 * Copyright (c) 2025 Golioth, Inc.
 *
 * SPDX-License-Identifier: Apache-2.0
 */

#ifndef __BT_APP_H__
#define __BT_APP_H__

int bt_app_start(void);

#endif /* __BT_APP_H__ */
```

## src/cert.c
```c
/*
 * Copyright (c) 2025 Golioth, Inc.
 *
 * SPDX-License-Identifier: Apache-2.0
 */

#include <stdint.h>
#include <stdlib.h>
#include "cert.h"

#include <golioth/gateway.h>
#include <golioth/golioth_status.h>

#include <zephyr/sys/atomic_types.h>

#include <zephyr/logging/log.h>
LOG_MODULE_REGISTER(cert);

static struct golioth_client *_client;

static uint8_t server_crt_buf[CONFIG_GATEWAY_SERVER_CERT_MAX_LEN];
static atomic_t server_crt_len;
static atomic_t server_crt_id;

struct device_cert_context
{
    size_t len;
    uint8_t buf[CONFIG_GATEWAY_DEVICE_CERT_MAX_LEN];
};

struct server_cert_context
{
    size_t id;
    size_t offset;
};

struct device_cert_context *device_cert_start(void)
{
    struct device_cert_context *context = malloc(sizeof(struct device_cert_context));

    context->len = 0;

    return context;
}

int device_cert_push(struct device_cert_context *context, const void *data, size_t len)
{
    if (context->len + len > CONFIG_GATEWAY_DEVICE_CERT_MAX_LEN)
    {
        return -ENOSPC;
    }

    memcpy(&context->buf[context->len], data, len);
    context->len += len;

    return 0;
}

void device_cert_abort(struct device_cert_context *context)
{
    free(context);
}

int device_cert_finish(struct device_cert_context *context)
{
    enum golioth_status status;

    status = golioth_gateway_device_cert_set(_client, context->buf, context->len, 5);
    if (status != GOLIOTH_OK)
    {
        LOG_ERR("Failed to finish device cert: %d", status);
        return -EIO;
    }

    device_cert_abort(context);

    return 0;
}

struct server_cert_context *server_cert_start(void)
{
    struct server_cert_context *context = malloc(sizeof(struct server_cert_context));

    context->id = atomic_get(&server_crt_id);
    context->offset = 0;

    return context;
}

bool server_cert_is_newest(const struct server_cert_context *context)
{
    return context->id == atomic_get(&server_crt_id);
}

static void server_crt_update(size_t len)
{
    atomic_set(&server_crt_len, len);
    atomic_inc(&server_crt_id);
}

bool server_cert_is_complete(const struct server_cert_context *context)
{
    return context->offset >= atomic_get(&server_crt_len);
}

int server_cert_get_data(struct server_cert_context *context,
                         void *dst,
                         size_t *dst_len,
                         bool *is_last)
{
    size_t len = atomic_get(&server_crt_len);

    *is_last = false;

    if (context->offset >= len)
    {
        return -ENODATA;
    }

    if (*dst_len > len - context->offset)
    {
        *dst_len = len - context->offset;
    }

    memcpy(dst, &server_crt_buf[context->offset], *dst_len);
    context->offset += *dst_len;

    if (context->offset >= len)
    {
        *is_last = true;
    }

    return 0;
}

void server_cert_abort(struct server_cert_context *context)
{
    free(context);
}

void cert_module_on_connected(struct golioth_client *client)
{
    enum golioth_status status;

    _client = client;

    if (IS_ENABLED(CONFIG_GATEWAY_CLOUD))
    {
        size_t len = sizeof(server_crt_buf);
        status = golioth_gateway_server_cert_get(client, server_crt_buf, &len);
        if (status != GOLIOTH_OK)
        {
            LOG_ERR("Failed to download server certificate: %d", status);
            return;
        }

        server_crt_update(len);
    }
    else if (IS_ENABLED(CONFIG_GATEWAY_SERVER_CERT_BUILTIN))
    {
        static const uint8_t server_crt_offline[] = {
#include "server.der.inc"
        };

        memcpy(server_crt_buf, server_crt_offline, sizeof(server_crt_offline));
        server_crt_update(sizeof(server_crt_offline));

        LOG_INF("Loaded builtin server cert");
    }

    LOG_HEXDUMP_DBG(server_crt_buf, atomic_get(&server_crt_len), "Server certificate");
}
```

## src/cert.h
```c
/*
 * Copyright (c) 2025 Golioth, Inc.
 *
 * SPDX-License-Identifier: Apache-2.0
 */

#pragma once

struct golioth_client;
struct device_cert_context;
struct server_cert_context;

#include <stdbool.h>
#include <stddef.h>

struct device_cert_context *device_cert_start(void);
int device_cert_push(struct device_cert_context *context, const void *data, size_t len);
void device_cert_abort(struct device_cert_context *context);
int device_cert_finish(struct device_cert_context *context);

struct server_cert_context *server_cert_start(void);
void server_cert_abort(struct server_cert_context *context);
bool server_cert_is_newest(const struct server_cert_context *context);
bool server_cert_is_complete(const struct server_cert_context *context);
int server_cert_get_data(struct server_cert_context *context,
                         void *dst,
                         size_t *dst_len,
                         bool *is_last);

void cert_module_on_connected(struct golioth_client *client);
```

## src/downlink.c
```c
/*
 * Copyright (c) 2025 Golioth, Inc.
 *
 * SPDX-License-Identifier: Apache-2.0
 */

#include <stdlib.h>

#include <zephyr/kernel.h>
#include <zephyr/sys/atomic.h>

#include <golioth/gateway.h>

#include "block.h"

#include "downlink.h"

#include <zephyr/logging/log.h>
LOG_MODULE_REGISTER(downlink);

enum
{
    DOWNLINK_FLAG_COMPLETE,
    DOWNLINK_FLAG_ABORTED,
    DOWNLINK_FLAG_CLIENT_WAITING,
    DOWNLINK_FLAG_COUNT,
};

struct downlink_context
{
    downlink_data_available_cb data_available_cb;
    void *cb_arg;
    struct k_fifo block_queue;
    struct block *current_block;
    size_t offset;
    ATOMIC_DEFINE(flags, DOWNLINK_FLAG_COUNT);
};

static struct golioth_client *_client;

static void flush_block_queue(struct k_fifo *queue)
{
    struct block *block = k_fifo_get(queue, K_NO_WAIT);
    while (NULL != block)
    {
        block_free(block);

        block = k_fifo_get(queue, K_NO_WAIT);
    }
}

enum golioth_status downlink_block_cb(const uint8_t *data, size_t len, bool is_last, void *arg)
{
    struct downlink_context *downlink = arg;

    if (atomic_test_bit(downlink->flags, DOWNLINK_FLAG_ABORTED))
    {
        flush_block_queue(&downlink->block_queue);
        downlink_finish(downlink);
        return GOLIOTH_ERR_NACK;
    }

    struct block *block = block_alloc(NULL, K_SECONDS(CONFIG_GATEWAY_DOWNLINK_BLOCK_TIMEOUT));
    if (NULL == block)
    {
        LOG_ERR("Failed to allocate block");
        flush_block_queue(&downlink->block_queue);
        downlink_finish(downlink);
        return GOLIOTH_ERR_MEM_ALLOC;
    }

    block_append(block, data, len);

    if (is_last)
    {
        block_mark_last(block);
    }
    k_fifo_put(&downlink->block_queue, block);

    if (NULL == downlink->current_block
        && atomic_test_and_clear_bit(downlink->flags, DOWNLINK_FLAG_CLIENT_WAITING))
    {
        downlink->data_available_cb(downlink->cb_arg);
    }

    return GOLIOTH_OK;
}

void downlink_end_cb(enum golioth_status status,
                     const struct golioth_coap_rsp_code *coap_rsp_code,
                     void *arg)
{
    struct downlink_context *downlink = arg;

    if (GOLIOTH_OK != status)
    {
        LOG_ERR("Downlink ending due to error %d", status);
        if (GOLIOTH_ERR_COAP_RESPONSE == status)
        {
            LOG_ERR("CoAP error: %d.%02d", coap_rsp_code->code_class, coap_rsp_code->code_detail);
        }

        downlink_abort(downlink);

        /* If transport is waiting for a block, kick it */

        if (NULL == downlink->current_block)
        {
            downlink->data_available_cb(downlink->cb_arg);
        }
    }
}

struct downlink_context *downlink_init(downlink_data_available_cb data_available_cb, void *cb_arg)
{
    LOG_INF("Starting downlink");

    struct downlink_context *downlink = malloc(sizeof(struct downlink_context));

    if (NULL != downlink)
    {
        downlink->data_available_cb = data_available_cb;
        downlink->cb_arg = cb_arg;
        downlink->current_block = NULL;
        downlink->offset = 0;
        atomic_clear_bit(downlink->flags, DOWNLINK_FLAG_COMPLETE);
        atomic_clear_bit(downlink->flags, DOWNLINK_FLAG_ABORTED);
        atomic_set_bit(downlink->flags, DOWNLINK_FLAG_CLIENT_WAITING);
        k_fifo_init(&downlink->block_queue);
    }

    return downlink;
}

int downlink_get_data(struct downlink_context *downlink, void *dst, size_t *dst_len, bool *is_last)
{
    *is_last = false;

    if (downlink_is_complete(downlink))
    {
        return -ENODATA;
    }

    size_t total_bytes_copied = 0;

    while (*dst_len)
    {
        if (NULL == downlink->current_block)
        {
            downlink->current_block = k_fifo_get(&downlink->block_queue, K_NO_WAIT);
            if (NULL == downlink->current_block)
            {
                *dst_len = total_bytes_copied;
                if (atomic_test_bit(downlink->flags, DOWNLINK_FLAG_ABORTED))
                {
                    /* We have aborted the downlink and the block queue is empty */
                    *is_last = true;
                    atomic_set_bit(downlink->flags, DOWNLINK_FLAG_COMPLETE);
                    return 0;
                }
                if (0 == *dst_len)
                {
                    /* We could not provide any data to the client, so we will
                       notify them the next time we receive a block */
                    atomic_set_bit(downlink->flags, DOWNLINK_FLAG_CLIENT_WAITING);
                }
                return -EAGAIN;
            }
        }

        size_t bytes_to_copy =
            MIN(*dst_len, block_length(downlink->current_block) - downlink->offset);
        block_get(downlink->current_block, downlink->offset, dst, bytes_to_copy);

        downlink->offset += bytes_to_copy;
        *dst_len -= bytes_to_copy;
        dst = (void *) ((intptr_t) dst + bytes_to_copy);
        total_bytes_copied += bytes_to_copy;

        if (block_length(downlink->current_block) == downlink->offset)
        {
            *is_last = block_is_last(downlink->current_block);

            block_free(downlink->current_block);
            downlink->offset = 0;
            downlink->current_block = k_fifo_get(&downlink->block_queue, K_NO_WAIT);

            if (*is_last)
            {
                atomic_set_bit(downlink->flags, DOWNLINK_FLAG_COMPLETE);
                break;
            }
        }
    }

    *dst_len = total_bytes_copied;
    return 0;
}

bool downlink_is_complete(const struct downlink_context *downlink)
{
    return atomic_test_bit(downlink->flags, DOWNLINK_FLAG_COMPLETE);
}

void downlink_finish(struct downlink_context *downlink)
{
    if (NULL != downlink->current_block)
    {
        block_free(downlink->current_block);
    }

    free(downlink);
}

void downlink_abort(struct downlink_context *downlink)
{
    /* Downlink will be aborted after the current in flight CoAP
       block request is completed. */

    atomic_set_bit(downlink->flags, DOWNLINK_FLAG_ABORTED);

    /* If there are no more blocks, then just cleanup */

    if (downlink_is_complete(downlink))
    {
        downlink_finish(downlink);
    }
}

void downlink_module_init(struct golioth_client *client)
{
    _client = client;
}
```

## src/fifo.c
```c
/*
 * Copyright (c) 2025 Golioth, Inc.
 *
 * SPDX-License-Identifier: Apache-2.0
 */

#include "fifo.h"

K_FIFO_DEFINE(pouches_fifo);
```

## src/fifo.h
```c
/*
 * Copyright (c) 2025 Golioth, Inc.
 *
 * SPDX-License-Identifier: Apache-2.0
 */

#ifndef __FIFO_H__
#define __FIFO_H__

#include <zephyr/kernel.h>

extern struct k_fifo pouches_fifo;

struct pouch_fifo_item
{
    sys_sfnode_t node;
    size_t len;
    uint8_t data[];
};

#endif /* __FIFO_H__ */
```
